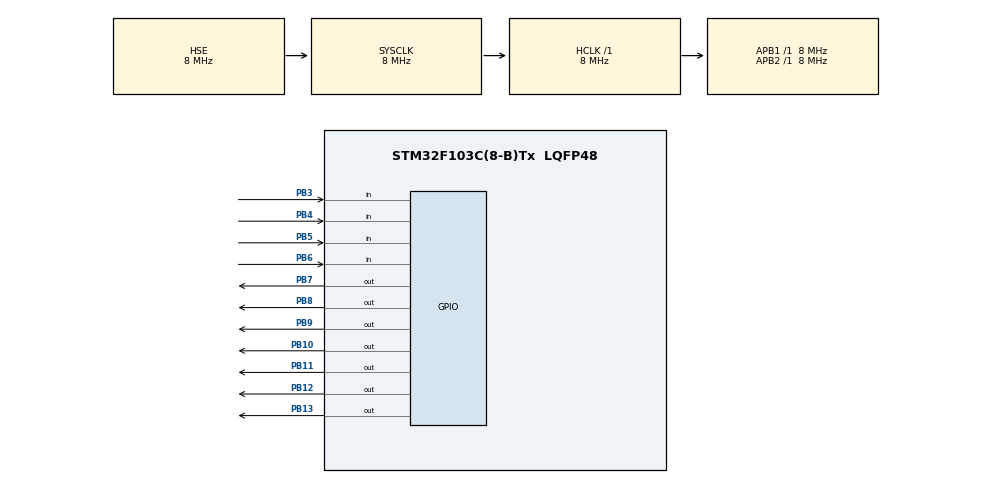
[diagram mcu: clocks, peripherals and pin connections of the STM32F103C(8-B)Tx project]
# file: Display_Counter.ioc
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Mcu.Family=STM32F1
Mcu.Name=STM32F103C(8-B)Tx
Mcu.Package=LQFP48
NVIC.PriorityGroup=NVIC_PRIORITYGROUP_4
PA13.Mode=Serial_Wire
PA13.Signal=SYS_JTMS-SWDIO
PA14.Mode=Serial_Wire
PA14.Signal=SYS_JTCK-SWCLK
PB10.Signal=GPIO_Output
PB11.Signal=GPIO_Output
PB12.Signal=GPIO_Output
PB13.Signal=GPIO_Output
PB3.GPIO_PuPd=GPIO_PULLUP
PB3.Signal=GPIO_Input
PB4.GPIO_PuPd=GPIO_PULLUP
PB4.Signal=GPIO_Input
PB5.GPIO_PuPd=GPIO_PULLUP
PB5.Signal=GPIO_Input
PB6.GPIO_PuPd=GPIO_PULLUP
PB6.Signal=GPIO_Input
PB7.Signal=GPIO_Output
PB8.Signal=GPIO_Output
PB9.Signal=GPIO_Output
PD0-OSC_IN.Mode=HSE-External-Oscillator
PD0-OSC_IN.Signal=RCC_OSC_IN
PD1-OSC_OUT.Mode=HSE-External-Oscillator
PD1-OSC_OUT.Signal=RCC_OSC_OUT
ProjectManager.HeapSize=0x200
ProjectManager.StackSize=0x400
ProjectManager.TargetToolchain=STM32CubeIDE
RCC.AHBFreq_Value=8000000
RCC.APB1Freq_Value=8000000
RCC.APB1TimFreq_Value=8000000
RCC.APB2Freq_Value=8000000
RCC.APB2TimFreq_Value=8000000
RCC.HCLKFreq_Value=8000000
RCC.PLLMUL=RCC_PLL_MUL9
RCC.PLLSourceVirtual=RCC_PLLSOURCE_HSE
RCC.SYSCLKFreq_VALUE=8000000
RCC.SYSCLKSource=RCC_SYSCLKSOURCE_HSE
RCC.USBFreq_Value=72000000
board=custom

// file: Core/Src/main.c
/* USER CODE BEGIN Header */
/**
  ******************************************************************************
  * @file           : main.c
  * @brief          : Main program body
  ******************************************************************************
  * @attention
  *
  * Copyright (c) 2022 STMicroelectronics.
  * All rights reserved.
  *
  * This software is licensed under terms that can be found in the LICENSE file
  * in the root directory of this software component.
  * If no LICENSE file comes with this software, it is provided AS-IS.
  *
  ******************************************************************************
  */
/* USER CODE END Header */
#include "main.h"

void SystemClock_Config(void);
static void MX_GPIO_Init(void);

/* USER CODE BEGIN 0 */

//Definicion del prototipo
void boton(void);

#define mascarab6ab3 (uint32_t) 0b1111000
uint32_t disp7segs[] = {0x3f,0x06,0x5b,0x4f,0x66,0x6d,0x7d,0x07,0x7f,0x67,0x79};
uint32_t valor = 0, temporal = 0, ba = 1, bp = 1;

/* USER CODE END 0 */

int main(void) {

  /* MCU Configuration--------------------------------------------------------*/

  /* Reset of all peripherals, Initializes the Flash interface and the Systick. */
  HAL_Init();

  /* Configure the system clock */
  SystemClock_Config();

  /* Initialize all configured peripherals */
  MX_GPIO_Init();

  /* Infinite loop */
  /* USER CODE BEGIN WHILE */
  while (1) {

	  // Program 5 Contador decimal de 7 segmentos con incremento por boton por flanco de bajada
	  /*
	  boton();
	  temporal=(GPIOB->ODR)&mascarab6ab3; //La mascara 1111000 es usada para no afectar b3 a b6
	  GPIOB->ODR=temporal | (disp7segs[valor]<<7); //El patron del display se recorre 7 bits para los pines correctos */

	  // Program 4 Contador decimal de 7 segmentos con incremento por boton por flanco de subida
	  /*
	  ba = HAL_GPIO_ReadPin(GPIOB, GPIO_PIN_3);
	  if (ba == 1 && bp == 0) { //Detecta flanco de subida
		  valor++;
		  if (valor > 9) valor = 0;
	  	  HAL_Delay(50);
	  }
	  temporal = (GPIOB -> ODR) & mascarab6ab3; //La mascara 1111000 es usada para no afectar b3 a b6
	  GPIOB -> ODR = temporal | (disp7segs[valor] << 7); //El patron del display se recorre 7 bits para los pines correctos
	  bp = ba; */

	  // Program 3
	  /*
	  if (HAL_GPIO_ReadPin(GPIOB, GPIO_PIN_3)==0) //Por nivel
	  valor++;
	  if (valor>9) valor=0;
	  temporal=(GPIOB->ODR)&mascarab6ab3; //La mascara 1111000 es usada para no afectar b3 a b6
	  GPIOB->ODR=temporal | (disp7segs[valor]<<7); //El patron del display se recorre 7 bits para los pines correctos
	  */

	  // Program 2 con error
	  /*
	  valor = GPIOB -> IDR; //Leemos el PUERTOB
	  valor = (valor >> 3) & 0x0f; //Recorremos 3 bits derecha y enmascaramos los 4 bits menos significativos
	  temporal = (GPIOB -> ODR) & mascarab6ab3; //La mascara 1111000 es usada para no afectar b3 a b6
	  if (valor << 3 <= 10) {
		  GPIOB -> ODR = temporal | (disp7segs[valor] << 7);
	  } else {
		  GPIOB -> ODR = temporal | (disp7segs[10] << 7);
	  } */

	  // Program 2 con error
	  /*
	  valor = GPIOB -> IDR; //Leemos el PUERTOB
	  valor = (valor >> 3) & 0x0f; //Recorremos 3 bits derecha y enmascaramos los 4 bits menos significativos
	  if (valor > 9) valor = 10;
	  temporal = (GPIOB -> ODR) & mascarab6ab3; //La mascara 1111000 es usada para no afectar b3 a b6
	  GPIOB -> ODR = temporal | (disp7segs[valor] << 7); //El patron del display se recorre 7 bits paralos pines correctos
	  */

	  // Program 1

	  GPIOB -> ODR = disp7segs[valor] << (7);
	  HAL_Delay(1000);
	  valor++;
	  if (valor>9) valor=0;
	  /* USER CODE END WHILE */

  }
}

//Inicia funcion

//Termina funcion

void SystemClock_Config(void)
{
  RCC_OscInitTypeDef RCC_OscInitStruct = {0};
  RCC_ClkInitTypeDef RCC_ClkInitStruct = {0};

  /** Initializes the RCC Oscillators according to the specified parameters
  * in the RCC_OscInitTypeDef structure.
  */
  RCC_OscInitStruct.OscillatorType = RCC_OSCILLATORTYPE_HSE;
  RCC_OscInitStruct.HSEState = RCC_HSE_ON;
  RCC_OscInitStruct.PLL.PLLState = RCC_PLL_NONE;
  if (HAL_RCC_OscConfig(&RCC_OscInitStruct) != HAL_OK)
  {
    Error_Handler();
  }

  /** Initializes the CPU, AHB and APB buses clocks
  */
  RCC_ClkInitStruct.ClockType = RCC_CLOCKTYPE_HCLK|RCC_CLOCKTYPE_SYSCLK
                              |RCC_CLOCKTYPE_PCLK1|RCC_CLOCKTYPE_PCLK2;
  RCC_ClkInitStruct.SYSCLKSource = RCC_SYSCLKSOURCE_HSE;
  RCC_ClkInitStruct.AHBCLKDivider = RCC_SYSCLK_DIV1;
  RCC_ClkInitStruct.APB1CLKDivider = RCC_HCLK_DIV1;
  RCC_ClkInitStruct.APB2CLKDivider = RCC_HCLK_DIV1;

  if (HAL_RCC_ClockConfig(&RCC_ClkInitStruct, FLASH_LATENCY_0) != HAL_OK)
  {
    Error_Handler();
  }
}

static void MX_GPIO_Init(void)
{
  GPIO_InitTypeDef GPIO_InitStruct = {0};

  /* GPIO Ports Clock Enable */
  __HAL_RCC_GPIOD_CLK_ENABLE();
  __HAL_RCC_GPIOB_CLK_ENABLE();
  __HAL_RCC_GPIOA_CLK_ENABLE();

  /*Configure GPIO pin Output Level */
  HAL_GPIO_WritePin(GPIOB, GPIO_PIN_10|GPIO_PIN_11|GPIO_PIN_12|GPIO_PIN_13
                          |GPIO_PIN_7|GPIO_PIN_8|GPIO_PIN_9, GPIO_PIN_RESET);

  /*Configure GPIO pins : PB10 PB11 PB12 PB13
                           PB7 PB8 PB9 */
  GPIO_InitStruct.Pin = GPIO_PIN_10|GPIO_PIN_11|GPIO_PIN_12|GPIO_PIN_13
                          |GPIO_PIN_7|GPIO_PIN_8|GPIO_PIN_9;
  GPIO_InitStruct.Mode = GPIO_MODE_OUTPUT_PP;
  GPIO_InitStruct.Pull = GPIO_NOPULL;
  GPIO_InitStruct.Speed = GPIO_SPEED_FREQ_LOW;
  HAL_GPIO_Init(GPIOB, &GPIO_InitStruct);

  /*Configure GPIO pins : PB3 PB4 PB5 PB6 */
  GPIO_InitStruct.Pin = GPIO_PIN_3|GPIO_PIN_4|GPIO_PIN_5|GPIO_PIN_6;
  GPIO_InitStruct.Mode = GPIO_MODE_INPUT;
  GPIO_InitStruct.Pull = GPIO_PULLUP;
  HAL_GPIO_Init(GPIOB, &GPIO_InitStruct);

}

/* USER CODE BEGIN 4 */
void boton(void) {
	ba=HAL_GPIO_ReadPin(GPIOB, GPIO_PIN_3);
	if (ba!=bp) {
		if (bp) { //if (bp==1) ocurrio flanco de bajada
			valor++;
			if (valor>9) valor=0;
		}
		HAL_Delay(50); //Estado estable
	}
	bp=ba;
}
/* USER CODE END 4 */

void Error_Handler(void)
{
  __disable_irq();
  while (1)
  {
  }
}
